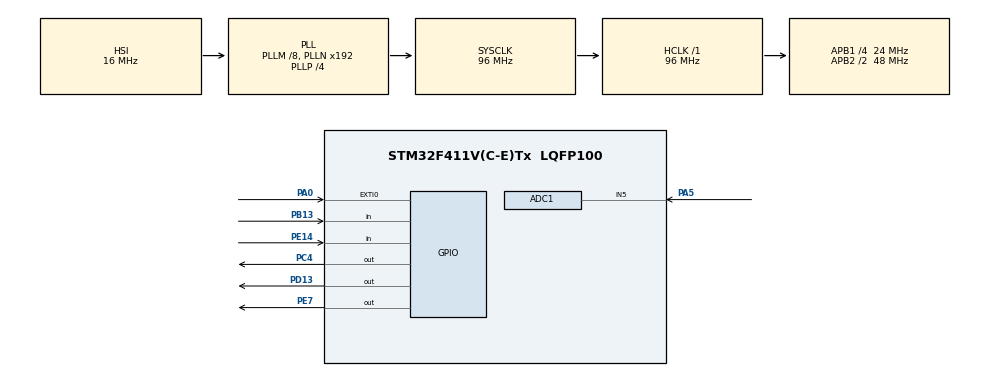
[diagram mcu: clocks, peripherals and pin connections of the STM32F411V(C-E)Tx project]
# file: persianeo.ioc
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ADC1.Channel-5\#ChannelRegularConversion=ADC_CHANNEL_5
ADC1.ClockPrescaler=ADC_CLOCK_SYNC_PCLK_DIV2
ADC1.ContinuousConvMode=DISABLE
ADC1.DMAContinuousRequests=DISABLE
ADC1.DataAlign=ADC_DATAALIGN_RIGHT
ADC1.DiscontinuousConvMode=DISABLE
ADC1.EOCSelection=ADC_EOC_SINGLE_CONV
ADC1.EnableAnalogWatchDog=false
ADC1.ExternalTrigConv=ADC_SOFTWARE_START
ADC1.ExternalTrigConvEdge=ADC_EXTERNALTRIGCONVEDGE_NONE
ADC1.InjNumberOfConversion=0
ADC1.NbrOfConversion=1
ADC1.NbrOfConversionFlag=1
ADC1.Rank-5\#ChannelRegularConversion=1
ADC1.Resolution=ADC_RESOLUTION_12B
ADC1.SamplingTime-5\#ChannelRegularConversion=ADC_SAMPLETIME_3CYCLES
ADC1.ScanConvMode=DISABLE
ADC1.master=1
Mcu.Family=STM32F4
Mcu.Name=STM32F411V(C-E)Tx
Mcu.Package=LQFP100
NVIC.EXTI0_IRQn=true\:0\:0\:false\:false\:true\:true
NVIC.PriorityGroup=NVIC_PRIORITYGROUP_0
PA0-WKUP.Signal=GPXTI0
PA5.Signal=ADCx_IN5
PB13.Signal=GPIO_Input
PC4.Signal=GPIO_Output
PD13.Signal=GPIO_Output
PE14.Signal=GPIO_Input
PE7.Signal=GPIO_Output
ProjectManager.HeapSize=0x200
ProjectManager.StackSize=0x400
ProjectManager.TargetToolchain=MDK-ARM V5
RCC.48MHZClocksFreq_Value=48000000
RCC.AHBFreq_Value=96000000
RCC.APB1CLKDivider=RCC_HCLK_DIV4
RCC.APB1Freq_Value=24000000
RCC.APB1TimFreq_Value=48000000
RCC.APB2CLKDivider=RCC_HCLK_DIV2
RCC.APB2Freq_Value=48000000
RCC.APB2TimFreq_Value=96000000
RCC.CortexFreq_Value=96000000
RCC.HCLKFreq_Value=96000000
RCC.HSE_VALUE=8000000
RCC.HSI_VALUE=16000000
RCC.LSE_VALUE=32768
RCC.PLLI2SM=5
RCC.PLLI2SN=200
RCC.PLLM=8
RCC.PLLP=RCC_PLLP_DIV4
RCC.PLLQ=8
RCC.SYSCLKFreq_VALUE=96000000
RCC.SYSCLKSource=RCC_SYSCLKSOURCE_PLLCLK
RCC.VCOOutputFreq_Value=384000000
SH.ADCx_IN5.0=ADC1_IN5,IN5
board=32F411EDISCOVERY

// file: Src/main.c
/**
  ******************************************************************************
  * @file           : main.c
  * @brief          : Main program body
  ******************************************************************************
  ** This notice applies to any and all portions of this file
  * that are not between comment pairs USER CODE BEGIN and
  * USER CODE END. Other portions of this file, whether
  * inserted by the user or by software development tools
  * are owned by their respective copyright owners.
  *
  * COPYRIGHT(c) 2019 STMicroelectronics
  *
  * Redistribution and use in source and binary forms, with or without modification,
  * are permitted provided that the following conditions are met:
  *   1. Redistributions of source code must retain the above copyright notice,
  *      this list of conditions and the following disclaimer.
  *   2. Redistributions in binary form must reproduce the above copyright notice,
  *      this list of conditions and the following disclaimer in the documentation
  *      and/or other materials provided with the distribution.
  *   3. Neither the name of STMicroelectronics nor the names of its contributors
  *      may be used to endorse or promote products derived from this software
  *      without specific prior written permission.
  *
  * THIS SOFTWARE IS PROVIDED BY THE COPYRIGHT HOLDERS AND CONTRIBUTORS "AS IS"
  * AND ANY EXPRESS OR IMPLIED WARRANTIES, INCLUDING, BUT NOT LIMITED TO, THE
  * IMPLIED WARRANTIES OF MERCHANTABILITY AND FITNESS FOR A PARTICULAR PURPOSE ARE
  * DISCLAIMED. IN NO EVENT SHALL THE COPYRIGHT HOLDER OR CONTRIBUTORS BE LIABLE
  * FOR ANY DIRECT, INDIRECT, INCIDENTAL, SPECIAL, EXEMPLARY, OR CONSEQUENTIAL
  * DAMAGES (INCLUDING, BUT NOT LIMITED TO, PROCUREMENT OF SUBSTITUTE GOODS OR
  * SERVICES; LOSS OF USE, DATA, OR PROFITS; OR BUSINESS INTERRUPTION) HOWEVER
  * CAUSED AND ON ANY THEORY OF LIABILITY, WHETHER IN CONTRACT, STRICT LIABILITY,
  * OR TORT (INCLUDING NEGLIGENCE OR OTHERWISE) ARISING IN ANY WAY OUT OF THE USE
  * OF THIS SOFTWARE, EVEN IF ADVISED OF THE POSSIBILITY OF SUCH DAMAGE.
  *
  ******************************************************************************
  */
#include "main.h"
#include "stm32f4xx_hal.h"

/* USER CODE BEGIN Includes */
#include "stdbool.h"
/* USER CODE END Includes */

ADC_HandleTypeDef hadc1;

/* USER CODE BEGIN PV */
/* Private variables ---------------------------------------------------------*/

/* USER CODE END PV */

void SystemClock_Config(void);
static void MX_GPIO_Init(void);
static void MX_ADC1_Init(void);

/* USER CODE BEGIN PFP */
/* Private function prototypes -----------------------------------------------*/

/* USER CODE END PFP */

/* USER CODE BEGIN 0 */
uint32_t ADC_val;
bool up;
bool down;
volatile int flag=0;
int i;

//interrupción: la activa el sensor de seguridad
void HAL_GPIO_EXTI_Callback(uint16_t GPIO_Pin)
{
	if (GPIO_Pin == GPIO_PIN_0){ //si el sensor está activo, se activará la bandera que luego en el código se utilizará para el proceso de seguridad (parar el motor, encender el led...)
 flag=1;
	}
}

/* USER CODE END 0 */

int main(void)
{

  /* MCU Configuration----------------------------------------------------------*/

  /* Reset of all peripherals, Initializes the Flash interface and the Systick. */
  HAL_Init();

  /* Configure the system clock */
  SystemClock_Config();

  /* Initialize all configured peripherals */
  MX_GPIO_Init();
  MX_ADC1_Init();

  /* Infinite loop */
  /* USER CODE BEGIN WHILE */
  while (1)
  {
HAL_ADC_Start(&hadc1);
if (HAL_ADC_PollForConversion(&hadc1, HAL_MAX_DELAY)==HAL_OK)//conversor A/D; lee la señal del ldr
{
 ADC_val=HAL_ADC_GetValue(&hadc1);
}
HAL_ADC_Stop(&hadc1);

up=HAL_GPIO_ReadPin(GPIOE, GPIO_PIN_14);
down=HAL_GPIO_ReadPin(GPIOB, GPIO_PIN_13);

//parte que se ejecuta si no está el sensor de seguridad activado
if (flag==0){
	if (ADC_val<3000 && down==0 ) { //si la luz baja del umbral, las persianas bajan (el motor gira en un sentido) hasta que se active el sensor de final de carrera de abajo
		HAL_GPIO_WritePin(GPIOE, GPIO_PIN_7, GPIO_PIN_SET);
		HAL_GPIO_WritePin(GPIOC, GPIO_PIN_4, GPIO_PIN_RESET);
	}
	else{ //en caso contrario; si la luz supera el umbral las persianas suben (el motor gira en el otro sentido) hasta que se active el sensor de final de carrera de arriba
		if (ADC_val>3000 && up==0) {
			HAL_GPIO_WritePin(GPIOE, GPIO_PIN_7, GPIO_PIN_RESET);
			HAL_GPIO_WritePin(GPIOC, GPIO_PIN_4, GPIO_PIN_SET);
		}
		else { //esta parte se ejecutará cuando haya llegado al final de carrera correspondiente, y es poner los dos pines del motor a 0 para que esté quieto
			HAL_GPIO_WritePin(GPIOE, GPIO_PIN_7, GPIO_PIN_RESET);
			HAL_GPIO_WritePin(GPIOC, GPIO_PIN_4, GPIO_PIN_RESET);
		}
	}
}
//parte que se ejecutará cuando se haya activado el sensor de seguridad
else{
	HAL_GPIO_WritePin(GPIOE, GPIO_PIN_7, GPIO_PIN_RESET); //primero pone los dos pines del motor a 0 para que pare
	HAL_GPIO_WritePin(GPIOC, GPIO_PIN_4, GPIO_PIN_RESET);
	for(i=0;i<4; i++){ //mientras, se encenderá una luz parpadeante
		HAL_GPIO_TogglePin(GPIOD,GPIO_PIN_13);
		HAL_Delay (100);
	}

	if (HAL_GPIO_ReadPin(GPIOA, GPIO_PIN_0)==0){ //si el sensor de seguridad ha dejado de leer:
		for(i=0;i<16; i++){	//sigue la luz parpadeando durante unos segundos para que de tiempo a que se vuelva a activar el sensor en caso de que la lectura de 0 fuera un fallo
			HAL_GPIO_TogglePin(GPIOD,GPIO_PIN_13);
			HAL_Delay (100);
		}
		HAL_GPIO_WritePin(GPIOD,GPIO_PIN_13,GPIO_PIN_RESET); //se apaga la luz
		flag=0; //la bandera se pone a 0 para que a continuación el código que se ejecute sea el normal
	}
}

  /* USER CODE END WHILE */

  }

}

void SystemClock_Config(void)
{

  RCC_OscInitTypeDef RCC_OscInitStruct;
  RCC_ClkInitTypeDef RCC_ClkInitStruct;

    /**Configure the main internal regulator output voltage
    */
  __HAL_RCC_PWR_CLK_ENABLE();

  __HAL_PWR_VOLTAGESCALING_CONFIG(PWR_REGULATOR_VOLTAGE_SCALE1);

    /**Initializes the CPU, AHB and APB busses clocks
    */
  RCC_OscInitStruct.OscillatorType = RCC_OSCILLATORTYPE_HSI;
  RCC_OscInitStruct.HSIState = RCC_HSI_ON;
  RCC_OscInitStruct.HSICalibrationValue = 16;
  RCC_OscInitStruct.PLL.PLLState = RCC_PLL_ON;
  RCC_OscInitStruct.PLL.PLLSource = RCC_PLLSOURCE_HSI;
  RCC_OscInitStruct.PLL.PLLM = 8;
  RCC_OscInitStruct.PLL.PLLN = 192;
  RCC_OscInitStruct.PLL.PLLP = RCC_PLLP_DIV4;
  RCC_OscInitStruct.PLL.PLLQ = 8;
  if (HAL_RCC_OscConfig(&RCC_OscInitStruct) != HAL_OK)
  {
    _Error_Handler(__FILE__, __LINE__);
  }

    /**Initializes the CPU, AHB and APB busses clocks
    */
  RCC_ClkInitStruct.ClockType = RCC_CLOCKTYPE_HCLK|RCC_CLOCKTYPE_SYSCLK
                              |RCC_CLOCKTYPE_PCLK1|RCC_CLOCKTYPE_PCLK2;
  RCC_ClkInitStruct.SYSCLKSource = RCC_SYSCLKSOURCE_PLLCLK;
  RCC_ClkInitStruct.AHBCLKDivider = RCC_SYSCLK_DIV1;
  RCC_ClkInitStruct.APB1CLKDivider = RCC_HCLK_DIV4;
  RCC_ClkInitStruct.APB2CLKDivider = RCC_HCLK_DIV2;

  if (HAL_RCC_ClockConfig(&RCC_ClkInitStruct, FLASH_LATENCY_3) != HAL_OK)
  {
    _Error_Handler(__FILE__, __LINE__);
  }

    /**Configure the Systick interrupt time
    */
  HAL_SYSTICK_Config(HAL_RCC_GetHCLKFreq()/1000);

    /**Configure the Systick
    */
  HAL_SYSTICK_CLKSourceConfig(SYSTICK_CLKSOURCE_HCLK);

  /* SysTick_IRQn interrupt configuration */
  HAL_NVIC_SetPriority(SysTick_IRQn, 0, 0);
}

/* ADC1 init function */
static void MX_ADC1_Init(void)
{

  ADC_ChannelConfTypeDef sConfig;

    /**Configure the global features of the ADC (Clock, Resolution, Data Alignment and number of conversion)
    */
  hadc1.Instance = ADC1;
  hadc1.Init.ClockPrescaler = ADC_CLOCK_SYNC_PCLK_DIV2;
  hadc1.Init.Resolution = ADC_RESOLUTION_12B;
  hadc1.Init.ScanConvMode = DISABLE;
  hadc1.Init.ContinuousConvMode = DISABLE;
  hadc1.Init.DiscontinuousConvMode = DISABLE;
  hadc1.Init.ExternalTrigConvEdge = ADC_EXTERNALTRIGCONVEDGE_NONE;
  hadc1.Init.ExternalTrigConv = ADC_SOFTWARE_START;
  hadc1.Init.DataAlign = ADC_DATAALIGN_RIGHT;
  hadc1.Init.NbrOfConversion = 1;
  hadc1.Init.DMAContinuousRequests = DISABLE;
  hadc1.Init.EOCSelection = ADC_EOC_SINGLE_CONV;
  if (HAL_ADC_Init(&hadc1) != HAL_OK)
  {
    _Error_Handler(__FILE__, __LINE__);
  }

    /**Configure for the selected ADC regular channel its corresponding rank in the sequencer and its sample time.
    */
  sConfig.Channel = ADC_CHANNEL_5;
  sConfig.Rank = 1;
  sConfig.SamplingTime = ADC_SAMPLETIME_3CYCLES;
  if (HAL_ADC_ConfigChannel(&hadc1, &sConfig) != HAL_OK)
  {
    _Error_Handler(__FILE__, __LINE__);
  }

}

/** Configure pins as
        * Analog
        * Input
        * Output
        * EVENT_OUT
        * EXTI
*/
static void MX_GPIO_Init(void)
{

  GPIO_InitTypeDef GPIO_InitStruct;

  /* GPIO Ports Clock Enable */
  __HAL_RCC_GPIOA_CLK_ENABLE();
  __HAL_RCC_GPIOC_CLK_ENABLE();
  __HAL_RCC_GPIOE_CLK_ENABLE();
  __HAL_RCC_GPIOB_CLK_ENABLE();
  __HAL_RCC_GPIOD_CLK_ENABLE();

  /*Configure GPIO pin Output Level */
  HAL_GPIO_WritePin(GPIOC, GPIO_PIN_4, GPIO_PIN_RESET);

  /*Configure GPIO pin Output Level */
  HAL_GPIO_WritePin(GPIOE, GPIO_PIN_7, GPIO_PIN_RESET);

  /*Configure GPIO pin Output Level */
  HAL_GPIO_WritePin(GPIOD, GPIO_PIN_13, GPIO_PIN_RESET);

  /*Configure GPIO pin : PA0 */
  GPIO_InitStruct.Pin = GPIO_PIN_0;
  GPIO_InitStruct.Mode = GPIO_MODE_IT_RISING;
  GPIO_InitStruct.Pull = GPIO_NOPULL;
  HAL_GPIO_Init(GPIOA, &GPIO_InitStruct);

  /*Configure GPIO pin : PC4 */
  GPIO_InitStruct.Pin = GPIO_PIN_4;
  GPIO_InitStruct.Mode = GPIO_MODE_OUTPUT_PP;
  GPIO_InitStruct.Pull = GPIO_NOPULL;
  GPIO_InitStruct.Speed = GPIO_SPEED_FREQ_LOW;
  HAL_GPIO_Init(GPIOC, &GPIO_InitStruct);

  /*Configure GPIO pin : PE7 */
  GPIO_InitStruct.Pin = GPIO_PIN_7;
  GPIO_InitStruct.Mode = GPIO_MODE_OUTPUT_PP;
  GPIO_InitStruct.Pull = GPIO_NOPULL;
  GPIO_InitStruct.Speed = GPIO_SPEED_FREQ_LOW;
  HAL_GPIO_Init(GPIOE, &GPIO_InitStruct);

  /*Configure GPIO pin : PE14 */
  GPIO_InitStruct.Pin = GPIO_PIN_14;
  GPIO_InitStruct.Mode = GPIO_MODE_INPUT;
  GPIO_InitStruct.Pull = GPIO_NOPULL;
  HAL_GPIO_Init(GPIOE, &GPIO_InitStruct);

  /*Configure GPIO pin : PB13 */
  GPIO_InitStruct.Pin = GPIO_PIN_13;
  GPIO_InitStruct.Mode = GPIO_MODE_INPUT;
  GPIO_InitStruct.Pull = GPIO_NOPULL;
  HAL_GPIO_Init(GPIOB, &GPIO_InitStruct);

  /*Configure GPIO pin : PD13 */
  GPIO_InitStruct.Pin = GPIO_PIN_13;
  GPIO_InitStruct.Mode = GPIO_MODE_OUTPUT_PP;
  GPIO_InitStruct.Pull = GPIO_NOPULL;
  GPIO_InitStruct.Speed = GPIO_SPEED_FREQ_LOW;
  HAL_GPIO_Init(GPIOD, &GPIO_InitStruct);

  /* EXTI interrupt init*/
  HAL_NVIC_SetPriority(EXTI0_IRQn, 0, 0);
  HAL_NVIC_EnableIRQ(EXTI0_IRQn);

}

void _Error_Handler(char *file, int line)
{
  while(1)
  {
  }
}

/************************ (C) COPYRIGHT STMicroelectronics *****END OF FILE****/
